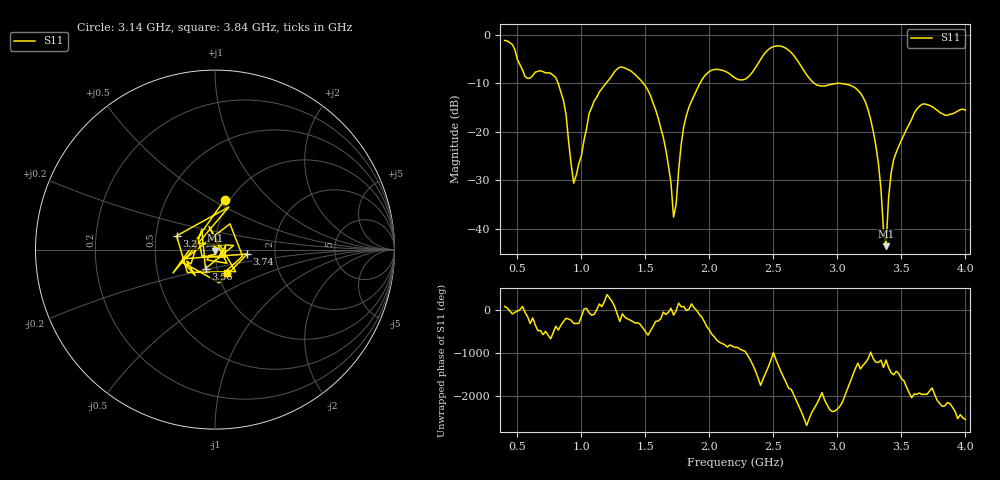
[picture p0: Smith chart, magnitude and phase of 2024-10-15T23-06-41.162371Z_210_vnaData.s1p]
! Created with skrf (http://scikit-rf.org).
# Hz S RI R 50.0
!freq ReS11 ImS11
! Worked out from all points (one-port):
!   181 points, 400 MHz to 4 GHz, reference 50 ohm
!   lowest |S11| = -43.6 dB at 3.38 GHz (marker M1), VSWR 1.01, Z = 50.1 - j0.648 ohm
!   |S11| at or under -10 dB: 817.9 MHz to 1.193 GHz (375.3 MHz wide, 37.3 % of centre); 1.483 GHz to 1.927 GHz (444.2 MHz wide, 26.1 % of centre); 2.818 GHz to end of sweep
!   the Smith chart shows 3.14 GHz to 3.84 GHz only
!   S11 on the Smith chart (normalised r, x): 3.14 GHz: 0.95, +0.57; 3.2 GHz: 0.64, +0.10; 3.56 GHz: 0.88, -0.19; 3.74 GHz: 1.43, -0.07; 3.84 GHz: 1.10, -0.30
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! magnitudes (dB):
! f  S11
! 400 MHz  -1.2
! 560 MHz  -8.7
! 760 MHz  -8.0
! 860 MHz  -13.6
! 940 MHz  -30.6
! 1.06 GHz  -16.3
! 1.3 GHz  -6.7
! 1.58 GHz  -15.5
! 1.66 GHz  -23.8
! 1.72 GHz  -37.6
! 1.76 GHz  -27.9
! 1.82 GHz  -16.7
! 1.94 GHz  -9.4
! 2.2 GHz  -8.9
! 2.5 GHz  -2.5
! 2.66 GHz  -4.3
! 2.84 GHz  -10.4
! 3.1 GHz  -10.4
! 3.14 GHz  -11.0
! 3.2 GHz  -12.9
! 3.3 GHz  -22.8
! 3.38 GHz  -43.6
! 3.4 GHz  -33.6
! 3.44 GHz  -25.7
! 3.56 GHz  -18.5
! 3.74 GHz  -14.8
! 3.84 GHz  -16.6
! 4 GHz  -15.6
